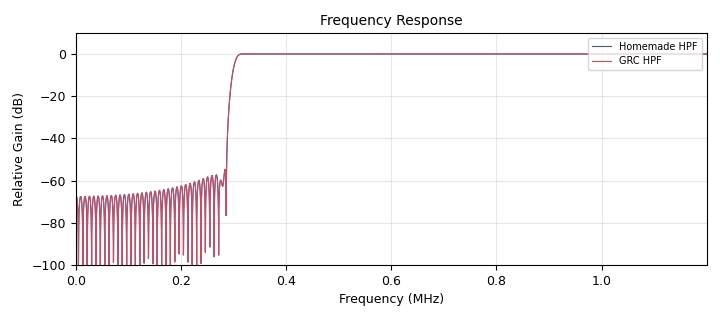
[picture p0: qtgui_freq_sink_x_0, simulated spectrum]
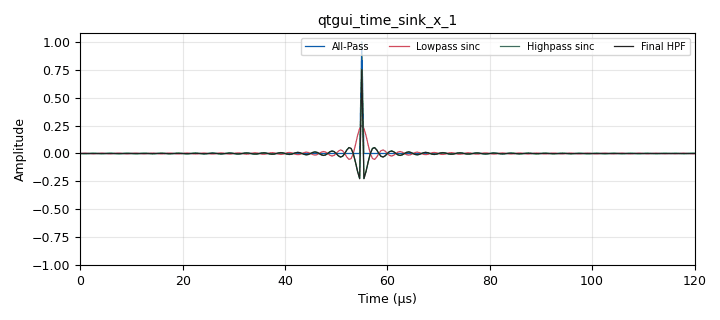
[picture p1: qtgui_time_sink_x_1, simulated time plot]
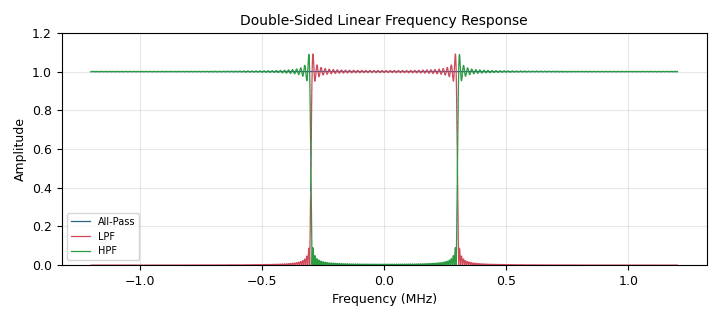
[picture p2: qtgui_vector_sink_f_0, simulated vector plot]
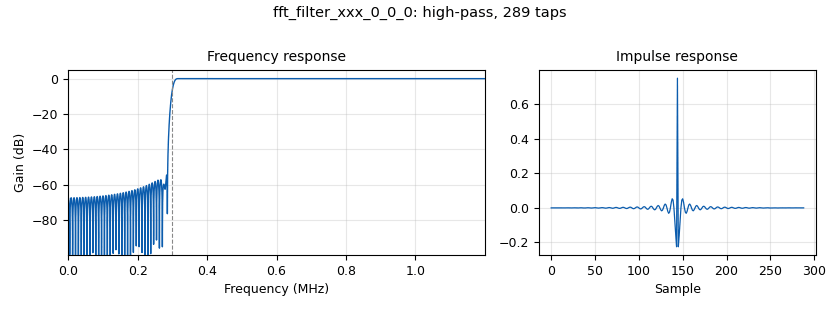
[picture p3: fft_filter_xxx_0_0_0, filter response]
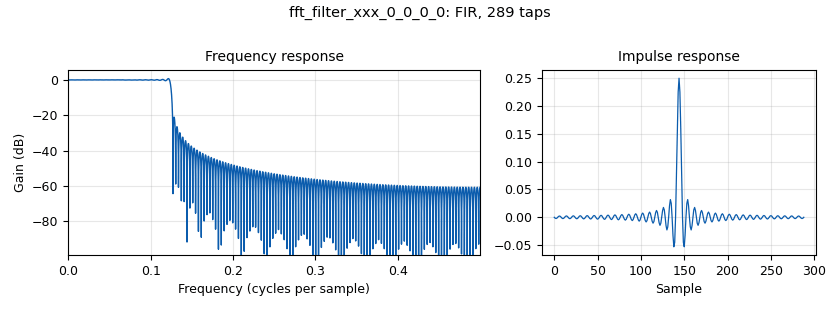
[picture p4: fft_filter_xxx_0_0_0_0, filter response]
options:
  parameters:
    author: Gary Schafer
    generate_options: qt_gui
    id: filter_impulse_response_highpass
    output_language: python
    title: Highpass using Spectral Inversion
  states: {}

blocks:
- name: M
  id: variable
  parameters:
    comment: |-
      Used to create symmetric
      counter around 0.
      ----------------------------------
      Value: int((filt_length-1)/2)
    value: int((filt_length-1)/2)
  states: {}
- name: N
  id: variable
  parameters:
    value: 2**14
  states: {}
- name: all_pass
  id: variable
  parameters:
    comment: |-
      Impulse used to
      create all-pass filter
    value: '[0,]*M+[1,]+[0,]*M'
  states: {}
- name: cutoff
  id: variable
  parameters:
    comment: Cutoff frequency
    value: 300e3
  states: {}
- name: filt_length
  id: variable
  parameters:
    comment: |-
      Number of taps to
      use creating the filter.
      This corresponds to
      a harris approximation
      calculation using a 
      transition width of
      20 kHz with a 2.4 MHz
      sample rate and Hamming
      window.
    value: '289'
  states: {}
- name: freq_shift
  id: variable
  parameters:
    comment: |-
      Half sample rate
      frequency shift
      for calculating the
      gain.
    value: (-1)**(n+M)
  states: {}
- name: grc_hpf
  id: variable_high_pass_filter_taps
  parameters:
    comment: |-
      Gnu Radio Companion
      highpass filter taps
    cutoff_freq: cutoff
    gain: '1.0'
    samp_rate: samp_rate
    width: 20e3
    win: window.WIN_HAMMING
  states: {}
- name: hpf
  id: variable
  parameters:
    comment: |-
      Final highpass filter
      with normalized gain
    value: hpf_win/hpf_gain
  states: {}
- name: hpf_gain
  id: variable
  parameters:
    comment: |-
      Calculate the gain of the
      highpass filter by first
      frequency shifting then
      summing all of the shifted
      taps.
    value: np.sum(np.multiply(hpf_win,freq_shift))
  states: {}
- name: hpf_sinc
  id: variable
  parameters:
    comment: |-
      Highpass sinc curve
      by subtracting LP sinc
      curve from impulse
    value: np.subtract(all_pass,sinc)
  states: {}
- name: hpf_win
  id: variable
  parameters:
    comment: |-
      Window the highpass
      sinc curve
    value: np.multiply(hpf_sinc,w)
  states: {}
- name: lpf
  id: variable
  parameters:
    comment: |-
      Window the lowpass
      filter for comparison
      with the highpass
    value: np.multiply(sinc,w)
  states: {}
- name: n
  id: variable
  parameters:
    comment: |-
      Counter used to
      create sinc curves
    value: np.arange(-M,M+1,1)
  states: {}
- name: samp_rate
  id: variable
  parameters:
    value: 2.4e6
  states: {}
- name: sinc
  id: variable
  parameters:
    comment: |-
      Lowpass prototype
      sinc curve
    value: 2*cutoff*np.sinc(2*n*cutoff/samp_rate)/samp_rate
  states: {}
- name: w
  id: variable
  parameters:
    comment: Create the window
    value: window.hamming(filt_length)
  states: {}
- name: blocks_complex_to_mag_0
  id: blocks_complex_to_mag
  parameters:
    vlen: N
  states: {}
- name: blocks_complex_to_mag_0_0
  id: blocks_complex_to_mag
  parameters:
    vlen: N
  states: {}
- name: blocks_complex_to_mag_0_0_0
  id: blocks_complex_to_mag
  parameters:
    vlen: N
  states: {}
- name: blocks_stream_to_vector_0
  id: blocks_stream_to_vector
  parameters:
    num_items: N
    type: float
  states: {}
- name: blocks_stream_to_vector_0_0
  id: blocks_stream_to_vector
  parameters:
    num_items: N
    type: float
  states: {}
- name: blocks_stream_to_vector_0_0_0
  id: blocks_stream_to_vector
  parameters:
    num_items: N
    type: float
  states: {}
- name: blocks_throttle_0
  id: blocks_throttle
  parameters:
    samples_per_second: samp_rate
    type: float
  states: {}
- name: blocks_vector_source_x_0
  id: blocks_vector_source_x
  parameters:
    comment: Impulse generator
    repeat: 'True'
    type: float
    vector: '[0,]*int(N/2-1)+[N,]+[0,]*int(N/2)'
  states: {}
- name: blocks_vector_source_x_0_0
  id: blocks_vector_source_x
  parameters:
    comment: |-
      Homemade highpass
      filter
    repeat: 'True'
    type: float
    vector: hpf_sinc
  states: {}
- name: blocks_vector_source_x_0_0_0
  id: blocks_vector_source_x
  parameters:
    comment: |-
      GRC-made highpass
      filter
    repeat: 'True'
    type: float
    vector: hpf
  states: {}
- name: blocks_vector_source_x_0_0_1
  id: blocks_vector_source_x
  parameters:
    comment: All-pass filter
    repeat: 'True'
    type: float
    vector: all_pass
  states: {}
- name: blocks_vector_source_x_0_0_2
  id: blocks_vector_source_x
  parameters:
    comment: Lowpass filter
    repeat: 'True'
    type: float
    vector: sinc
  states: {}
- name: blocks_vector_source_x_0_1
  id: blocks_vector_source_x
  parameters:
    comment: Impulse generator
    repeat: 'True'
    type: float
    vector: '[0,]*int(N/2-1)+[N,]+[0,]*int(N/2)'
  states: {}
- name: fft_filter_xxx_0_0
  id: fft_filter_xxx
  parameters:
    decim: '1'
    taps: hpf
    type: fff
  states: {}
- name: fft_filter_xxx_0_0_0
  id: fft_filter_xxx
  parameters:
    decim: '1'
    taps: grc_hpf
    type: fff
  states: {}
- name: fft_filter_xxx_0_0_0_0
  id: fft_filter_xxx
  parameters:
    decim: '1'
    taps: sinc
    type: fff
  states: {}
- name: fft_filter_xxx_0_0_0_0_0
  id: fft_filter_xxx
  parameters:
    decim: '1'
    taps: hpf_sinc
    type: fff
  states: {}
- name: fft_filter_xxx_0_0_1
  id: fft_filter_xxx
  parameters:
    decim: '1'
    taps: all_pass
    type: fff
  states: {}
- name: fft_vxx_0
  id: fft_vxx
  parameters:
    fft_size: N
    forward: 'True'
    shift: 'True'
    type: float
    window: '[1/N,]*N'
  states: {}
- name: fft_vxx_0_0
  id: fft_vxx
  parameters:
    fft_size: N
    forward: 'True'
    shift: 'True'
    type: float
    window: '[1/N,]*N'
  states: {}
- name: fft_vxx_0_0_0
  id: fft_vxx
  parameters:
    fft_size: N
    forward: 'True'
    shift: 'True'
    type: float
    window: '[1/N,]*N'
  states: {}
- name: import_0
  id: import
  parameters:
    imports: import numpy as np
  states: {}
- name: myTabs
  id: qtgui_tab_widget
  parameters:
    gui_hint: 0,0,20,20
    label0: Linear Spectrum
    label1: Impulse Response
    label2: Log Spectrum
    num_tabs: '3'
  states: {}
- name: note_0
  id: note
  parameters:
    note: Linear Spectra
  states: {}
- name: note_1
  id: note
  parameters:
    note: Impulse Responses
  states: {}
- name: note_2
  id: note
  parameters:
    note: Log Spectra
  states: {}
- name: note_3
  id: note
  parameters:
    comment: |-
      This process creates a lowpass sinc curve,
      then transforms it into a highpass sinc curve
      by subtracting the lowpass impulse response
      from an all-pass impulse response.
      1) Calculate the number of required taps
      2) Calculate the sinc curve based on the
      cutoff frequency and number of taps
      3) Calculate an all-pass impulse response
      based on the number of taps.
      4) Subtract the lowpass filter impulse
      response from the all-pass impulse response
      to create the highpass impulse response.
      This is the spectral inversion method.
      5) Window and normalize the gain of the
      highpass sinc curve to make the final
      highpass filter.
    note: Process to Create HPF
  states: {}
- name: qtgui_freq_sink_x_0
  id: qtgui_freq_sink_x
  parameters:
    bw: samp_rate
    color1: '"black"'
    fc: '0'
    fftsize: N
    freqhalf: 'False'
    grid: 'True'
    gui_hint: myTabs@2
    label1: Homemade HPF
    label2: GRC HPF
    name: Frequency Response
    nconnections: '2'
    type: float
    wintype: window.WIN_RECTANGULAR
    ymin: '-100'
  states: {}
- name: qtgui_time_sink_x_1
  id: qtgui_time_sink_x
  parameters:
    gui_hint: myTabs@1
    label1: All-Pass
    label2: Lowpass sinc
    label3: Highpass sinc
    label4: Final HPF
    nconnections: '4'
    size: filt_length
    srate: samp_rate
    type: float
  states: {}
- name: qtgui_vector_sink_f_0
  id: qtgui_vector_sink_f
  parameters:
    gui_hint: myTabs@0
    label1: All-Pass
    label2: LPF
    label3: HPF
    name: '"Double-Sided Linear Frequency Response"'
    nconnections: '3'
    vlen: N
    x_axis_label: '"Frequency (MHz)"'
    x_start: '-samp_rate/2e6'
    x_step: samp_rate/1e6/N
    x_units: '"MHz"'
    y_axis_label: '"Amplitude"'
    ymax: '1.2'
    ymin: '0'
  states: {}

connections:
- [blocks_complex_to_mag_0, '0', qtgui_vector_sink_f_0, '0']
- [blocks_complex_to_mag_0_0, '0', qtgui_vector_sink_f_0, '1']
- [blocks_complex_to_mag_0_0_0, '0', qtgui_vector_sink_f_0, '2']
- [blocks_stream_to_vector_0, '0', fft_vxx_0, '0']
- [blocks_stream_to_vector_0_0, '0', fft_vxx_0_0, '0']
- [blocks_stream_to_vector_0_0_0, '0', fft_vxx_0_0_0, '0']
- [blocks_throttle_0, '0', fft_filter_xxx_0_0, '0']
- [blocks_throttle_0, '0', fft_filter_xxx_0_0_0, '0']
- [blocks_vector_source_x_0, '0', blocks_throttle_0, '0']
- [blocks_vector_source_x_0_0, '0', qtgui_time_sink_x_1, '2']
- [blocks_vector_source_x_0_0_0, '0', qtgui_time_sink_x_1, '3']
- [blocks_vector_source_x_0_0_1, '0', qtgui_time_sink_x_1, '0']
- [blocks_vector_source_x_0_0_2, '0', qtgui_time_sink_x_1, '1']
- [blocks_vector_source_x_0_1, '0', fft_filter_xxx_0_0_0_0, '0']
- [blocks_vector_source_x_0_1, '0', fft_filter_xxx_0_0_0_0_0, '0']
- [blocks_vector_source_x_0_1, '0', fft_filter_xxx_0_0_1, '0']
- [fft_filter_xxx_0_0, '0', qtgui_freq_sink_x_0, '0']
- [fft_filter_xxx_0_0_0, '0', qtgui_freq_sink_x_0, '1']
- [fft_filter_xxx_0_0_0_0, '0', blocks_stream_to_vector_0_0, '0']
- [fft_filter_xxx_0_0_0_0_0, '0', blocks_stream_to_vector_0_0_0, '0']
- [fft_filter_xxx_0_0_1, '0', blocks_stream_to_vector_0, '0']
- [fft_vxx_0, '0', blocks_complex_to_mag_0, '0']
- [fft_vxx_0_0, '0', blocks_complex_to_mag_0_0, '0']
- [fft_vxx_0_0_0, '0', blocks_complex_to_mag_0_0_0, '0']

metadata:
  file_format: 1
  grc_version: 3.10.9.2
